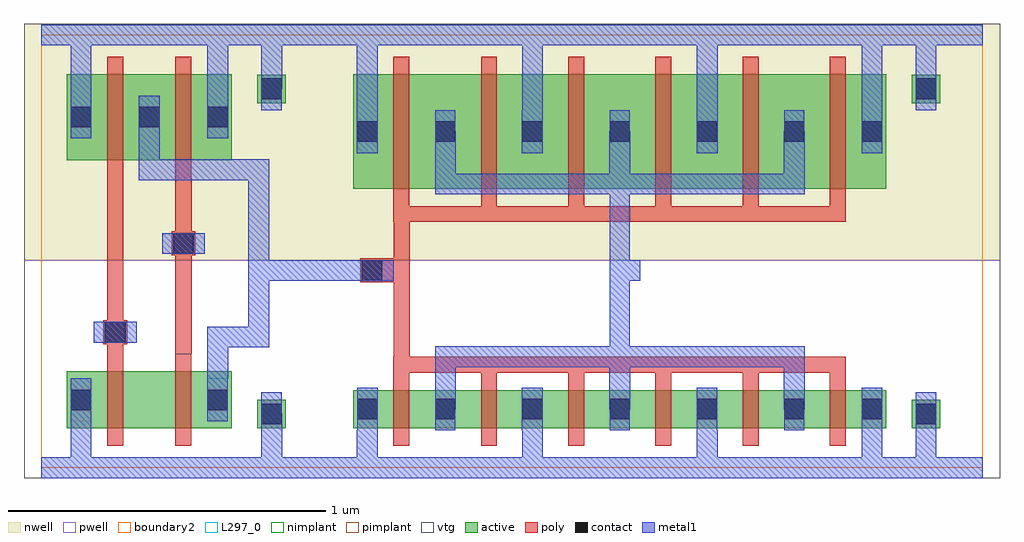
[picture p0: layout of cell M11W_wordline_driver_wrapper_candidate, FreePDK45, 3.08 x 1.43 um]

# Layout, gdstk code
import gdstk
lib = gdstk.Library(unit=1e-6, precision=1e-09)
def R(c, l, rs):  # rectangles x0, y0, x1, y1
    for r in rs: c.add(gdstk.rectangle(r[:2], r[2:], *l))
active = (1, 0)
pwell = (2, 0)
nwell = (3, 0)
nimplant = (4, 0)
pimplant = (5, 0)
vtg = (6, 0)
poly = (9, 0)
contact = (10, 0)
metal1 = (11, 0)
boundary2 = (239, 0)
L297_0 = (297, 0)

sram_1rw_32x16_freepdk45 = lib.new_cell('sram_1rw_32x16_freepdk45_contact_11')
R(sram_1rw_32x16_freepdk45, active, [(0,0.022,0.09,0.112)])
R(sram_1rw_32x16_freepdk45, nwell, [(-0.055,-0.033,0.145,0.168)])
R(sram_1rw_32x16_freepdk45, pimplant, [(0,0.022,0.09,0.112)])
R(sram_1rw_32x16_freepdk45, contact, [(0.013,0.035,0.077,0.1)])
R(sram_1rw_32x16_freepdk45, metal1, [(0.013,0,0.077,0.135)])
R(sram_1rw_32x16_freepdk45, boundary2, [(-0.055,-0.033,0.145,0.168)])

c_sram_1rw_32x16_freepdk45 = lib.new_cell('sram_1rw_32x16_freepdk45_pmos_m1_w0_270_sm1_dm1')
R(c_sram_1rw_32x16_freepdk45, active, [(0,0,0.305,0.27)])
R(c_sram_1rw_32x16_freepdk45, nwell, [(-0.08,-0.08,0.385,0.35)])
R(c_sram_1rw_32x16_freepdk45, pimplant, [(0,0,0.305,0.27)])
R(c_sram_1rw_32x16_freepdk45, vtg, [(-0.08,-0.08,0.385,0.35)])
R(c_sram_1rw_32x16_freepdk45, poly, [(0.127,-0.055,0.177,0.325), (0.127,-0.055,0.177,0.325)])
R(c_sram_1rw_32x16_freepdk45, metal1, [(0.013,0.068,0.077,0.203), (0.227,0.068,0.292,0.203)])
R(c_sram_1rw_32x16_freepdk45, boundary2, [(-0.08,-0.08,0.385,0.35)])
c_sram_1rw_32x16_freepdk45.add(gdstk.Reference(sram_1rw_32x16_freepdk45, (0,0.068)))
c_sram_1rw_32x16_freepdk45.add(gdstk.Reference(sram_1rw_32x16_freepdk45, (0.215,0.068)))
c_sram_1rw_32x16_freepdk45.add(gdstk.Label('G', (0.152,0.135), layer=9, texttype=0))
c_sram_1rw_32x16_freepdk45.add(gdstk.Label('S', (0.045,0.135), layer=11, texttype=0))
c_sram_1rw_32x16_freepdk45.add(gdstk.Label('D', (0.26,0.135), layer=11, texttype=0))

c_sram_1rw_32x16_freepdk45_ = lib.new_cell('sram_1rw_32x16_freepdk45_contact_10')
R(c_sram_1rw_32x16_freepdk45_, active, [(0,0.022,0.09,0.112)])
R(c_sram_1rw_32x16_freepdk45_, pwell, [(-0.055,-0.033,0.145,0.168)])
R(c_sram_1rw_32x16_freepdk45_, nimplant, [(0,0.022,0.09,0.112)])
R(c_sram_1rw_32x16_freepdk45_, contact, [(0.013,0.035,0.077,0.1)])
R(c_sram_1rw_32x16_freepdk45_, metal1, [(0.013,0,0.077,0.135)])
R(c_sram_1rw_32x16_freepdk45_, boundary2, [(-0.055,-0.033,0.145,0.168)])

c_sram_1rw_32x16_freepdk45__ = lib.new_cell('sram_1rw_32x16_freepdk45_nmos_m1_w0_180_sm1_dactive')
R(c_sram_1rw_32x16_freepdk45__, active, [(0,0,0.305,0.18), (0.215,0.045,0.305,0.135)])
R(c_sram_1rw_32x16_freepdk45__, pwell, [(-0.08,-0.08,0.385,0.26)])
R(c_sram_1rw_32x16_freepdk45__, nimplant, [(0,0,0.305,0.18)])
R(c_sram_1rw_32x16_freepdk45__, vtg, [(-0.08,-0.08,0.385,0.26)])
R(c_sram_1rw_32x16_freepdk45__, poly, [(0.127,-0.055,0.177,0.235), (0.127,-0.055,0.177,0.235)])
R(c_sram_1rw_32x16_freepdk45__, metal1, [(0.013,0.022,0.077,0.157)])
R(c_sram_1rw_32x16_freepdk45__, boundary2, [(-0.08,-0.08,0.385,0.26)])
c_sram_1rw_32x16_freepdk45__.add(gdstk.Reference(c_sram_1rw_32x16_freepdk45_, (0,0.022)))
c_sram_1rw_32x16_freepdk45__.add(gdstk.Label('G', (0.152,0.09), layer=9, texttype=0))
c_sram_1rw_32x16_freepdk45__.add(gdstk.Label('S', (0.045,0.09), layer=11, texttype=0))
c_sram_1rw_32x16_freepdk45__.add(gdstk.Label('D', (0.26,0.09), layer=1, texttype=0))

c_sram_1rw_32x16_freepdk45___ = lib.new_cell('sram_1rw_32x16_freepdk45_nmos_m1_w0_180_sactive_dm1')
R(c_sram_1rw_32x16_freepdk45___, active, [(0,0,0.305,0.18), (0,0.045,0.09,0.135)])
R(c_sram_1rw_32x16_freepdk45___, pwell, [(-0.08,-0.08,0.385,0.26)])
R(c_sram_1rw_32x16_freepdk45___, nimplant, [(0,0,0.305,0.18)])
R(c_sram_1rw_32x16_freepdk45___, vtg, [(-0.08,-0.08,0.385,0.26)])
R(c_sram_1rw_32x16_freepdk45___, poly, [(0.127,-0.055,0.177,0.235), (0.127,-0.055,0.177,0.235)])
R(c_sram_1rw_32x16_freepdk45___, metal1, [(0.227,0.022,0.292,0.157)])
R(c_sram_1rw_32x16_freepdk45___, boundary2, [(-0.08,-0.08,0.385,0.26)])
c_sram_1rw_32x16_freepdk45___.add(gdstk.Reference(c_sram_1rw_32x16_freepdk45_, (0.215,0.022)))
c_sram_1rw_32x16_freepdk45___.add(gdstk.Label('G', (0.152,0.09), layer=9, texttype=0))
c_sram_1rw_32x16_freepdk45___.add(gdstk.Label('S', (0.045,0.09), layer=1, texttype=0))
c_sram_1rw_32x16_freepdk45___.add(gdstk.Label('D', (0.26,0.09), layer=11, texttype=0))

c_sram_1rw_32x16_freepdk45____ = lib.new_cell('sram_1rw_32x16_freepdk45_contact_12')
R(c_sram_1rw_32x16_freepdk45____, active, [(0,0.022,0.09,0.112)])
R(c_sram_1rw_32x16_freepdk45____, nwell, [(-0.055,-0.033,0.145,0.168)])
R(c_sram_1rw_32x16_freepdk45____, nimplant, [(0,0.022,0.09,0.112)])
R(c_sram_1rw_32x16_freepdk45____, contact, [(0.013,0.035,0.077,0.1)])
R(c_sram_1rw_32x16_freepdk45____, metal1, [(0.013,0,0.077,0.135)])
R(c_sram_1rw_32x16_freepdk45____, boundary2, [(-0.055,-0.033,0.145,0.168)])

c_sram_1rw_32x16_freepdk45_____ = lib.new_cell('sram_1rw_32x16_freepdk45_contact_13')
R(c_sram_1rw_32x16_freepdk45_____, active, [(0,0.022,0.09,0.112)])
R(c_sram_1rw_32x16_freepdk45_____, pwell, [(-0.055,-0.033,0.145,0.168)])
R(c_sram_1rw_32x16_freepdk45_____, pimplant, [(0,0.022,0.09,0.112)])
R(c_sram_1rw_32x16_freepdk45_____, contact, [(0.013,0.035,0.077,0.1)])
R(c_sram_1rw_32x16_freepdk45_____, metal1, [(0.013,0,0.077,0.135)])
R(c_sram_1rw_32x16_freepdk45_____, boundary2, [(-0.055,-0.033,0.145,0.168)])

c_sram_1rw_32x16_freepdk45______ = lib.new_cell('sram_1rw_32x16_freepdk45_contact_14')
R(c_sram_1rw_32x16_freepdk45______, poly, [(0.03,0,0.105,0.075)])
R(c_sram_1rw_32x16_freepdk45______, contact, [(0.035,0.005,0.1,0.07)])
R(c_sram_1rw_32x16_freepdk45______, metal1, [(0,0.005,0.135,0.07)])
R(c_sram_1rw_32x16_freepdk45______, boundary2, [(0,0,0.135,0.075)])

c_sram_1rw_32x16_freepdk45_______ = lib.new_cell('sram_1rw_32x16_freepdk45_pnand2')
R(c_sram_1rw_32x16_freepdk45_______, pwell, [(-0.055,-0.033,0.957,0.655)])
R(c_sram_1rw_32x16_freepdk45_______, nwell, [(-0.055,0.655,0.957,1.4)])
R(c_sram_1rw_32x16_freepdk45_______, vtg, [(-0.055,-0.033,0.957,0.655), (-0.055,0.655,0.957,1.4)])
R(c_sram_1rw_32x16_freepdk45_______, poly, [(0.208,0.36,0.258,0.915), (0.422,0.36,0.473,0.915), (0.208,0.39,0.232,0.465), (0.422,0.67,0.447,0.745)])
R(c_sram_1rw_32x16_freepdk45_______, metal1, [(0,-0.033,0.902,0.033), (0.092,-0.033,0.157,0.147), (0.692,0,0.758,0.17), (0.522,0.283,0.588,0.413), (0.522,0.38,0.588,0.445), (0.555,0.38,0.685,0.445), (0.652,0.38,0.718,0.445), (0.165,0.395,0.3,0.46), (0.652,0.413,0.718,0.94), (0.38,0.675,0.515,0.74), (0.307,0.907,0.372,0.972), (0.34,0.907,0.685,0.972), (0.652,0.907,0.718,0.972), (0.307,0.94,0.372,1.038), (0.092,1.038,0.157,1.397), (0.522,1.038,0.588,1.397), (0.692,1.195,0.758,1.365), (0,1.332,0.902,1.397)])
R(c_sram_1rw_32x16_freepdk45_______, boundary2, [(0,0,0.902,1.365), (0,0,0.902,1.365)])
c_sram_1rw_32x16_freepdk45_______.add(gdstk.Reference(c_sram_1rw_32x16_freepdk45, (0.08,0.97)))
c_sram_1rw_32x16_freepdk45_______.add(gdstk.Reference(c_sram_1rw_32x16_freepdk45, (0.295,0.97)))
c_sram_1rw_32x16_freepdk45_______.add(gdstk.Reference(c_sram_1rw_32x16_freepdk45__, (0.08,0.125)))
c_sram_1rw_32x16_freepdk45_______.add(gdstk.Reference(c_sram_1rw_32x16_freepdk45___, (0.295,0.125)))
c_sram_1rw_32x16_freepdk45_______.add(gdstk.Reference(c_sram_1rw_32x16_freepdk45____, (0.68,1.127)))
c_sram_1rw_32x16_freepdk45_______.add(gdstk.Reference(c_sram_1rw_32x16_freepdk45_____, (0.68,0.103)))
c_sram_1rw_32x16_freepdk45_______.add(gdstk.Reference(c_sram_1rw_32x16_freepdk45______, (0.165,0.39)))
c_sram_1rw_32x16_freepdk45_______.add(gdstk.Reference(c_sram_1rw_32x16_freepdk45______, (0.38,0.67)))
c_sram_1rw_32x16_freepdk45_______.add(gdstk.Label('Z', (0.685,0.94), layer=11, texttype=0))
c_sram_1rw_32x16_freepdk45_______.add(gdstk.Label('gnd', (0.45,0), layer=11, texttype=0))
c_sram_1rw_32x16_freepdk45_______.add(gdstk.Label('vdd', (0.45,1.365), layer=11, texttype=0))
c_sram_1rw_32x16_freepdk45_______.add(gdstk.Label('A', (0.232,0.427), layer=11, texttype=0))
c_sram_1rw_32x16_freepdk45_______.add(gdstk.Label('B', (0.447,0.707), layer=11, texttype=0))

c_sram_1rw_32x16_freepdk45________ = lib.new_cell('sram_1rw_32x16_freepdk45_pmos_m6_w0_360_sm1_dm1_da_p')
R(c_sram_1rw_32x16_freepdk45________, active, [(0,0,1.68,0.36)])
R(c_sram_1rw_32x16_freepdk45________, nwell, [(-0.08,-0.08,1.76,0.44)])
R(c_sram_1rw_32x16_freepdk45________, pimplant, [(0,0,1.68,0.36)])
R(c_sram_1rw_32x16_freepdk45________, vtg, [(-0.08,-0.08,1.76,0.44)])
R(c_sram_1rw_32x16_freepdk45________, poly, [(0.127,-0.105,1.552,-0.055), (0.127,-0.055,0.177,0.415), (0.403,-0.055,0.452,0.415), (0.677,-0.055,0.728,0.415), (0.952,-0.055,1.002,0.415), (1.228,-0.055,1.278,0.415), (1.502,-0.055,1.552,0.415)])
R(c_sram_1rw_32x16_freepdk45________, metal1, [(0.258,-0.018,1.423,0.047), (0.258,0.015,0.323,0.18), (0.807,0.015,0.873,0.18), (1.357,0.015,1.423,0.18), (0.013,0.112,0.077,0.247), (0.532,0.112,0.598,0.247), (1.083,0.112,1.147,0.247), (1.602,0.112,1.667,0.247)])
R(c_sram_1rw_32x16_freepdk45________, boundary2, [(-0.08,-0.105,1.76,0.44)])
c_sram_1rw_32x16_freepdk45________.add(gdstk.Reference(sram_1rw_32x16_freepdk45, (0,0.112)))
c_sram_1rw_32x16_freepdk45________.add(gdstk.Reference(sram_1rw_32x16_freepdk45, (0.245,0.112)))
c_sram_1rw_32x16_freepdk45________.add(gdstk.Reference(sram_1rw_32x16_freepdk45, (0.52,0.112)))
c_sram_1rw_32x16_freepdk45________.add(gdstk.Reference(sram_1rw_32x16_freepdk45, (0.795,0.112)))
c_sram_1rw_32x16_freepdk45________.add(gdstk.Reference(sram_1rw_32x16_freepdk45, (1.07,0.112)))
c_sram_1rw_32x16_freepdk45________.add(gdstk.Reference(sram_1rw_32x16_freepdk45, (1.345,0.112)))
c_sram_1rw_32x16_freepdk45________.add(gdstk.Reference(sram_1rw_32x16_freepdk45, (1.59,0.112)))
c_sram_1rw_32x16_freepdk45________.add(gdstk.Label('G', (0.84,-0.08), layer=9, texttype=0))
c_sram_1rw_32x16_freepdk45________.add(gdstk.Label('S', (1.635,0.18), layer=11, texttype=0))
c_sram_1rw_32x16_freepdk45________.add(gdstk.Label('S', (1.115,0.18), layer=11, texttype=0))
c_sram_1rw_32x16_freepdk45________.add(gdstk.Label('S', (0.045,0.18), layer=11, texttype=0))
c_sram_1rw_32x16_freepdk45________.add(gdstk.Label('S', (0.565,0.18), layer=11, texttype=0))
c_sram_1rw_32x16_freepdk45________.add(gdstk.Label('D', (0.84,0.015), layer=11, texttype=0))

c_sram_1rw_32x16_freepdk45_________ = lib.new_cell('sram_1rw_32x16_freepdk45_nmos_m6_w0_120_sm1_dm1_da_p')
R(c_sram_1rw_32x16_freepdk45_________, active, [(0,0,1.68,0.12)])
R(c_sram_1rw_32x16_freepdk45_________, pwell, [(-0.08,-0.08,1.76,0.2)])
R(c_sram_1rw_32x16_freepdk45_________, nimplant, [(0,0,1.68,0.12)])
R(c_sram_1rw_32x16_freepdk45_________, vtg, [(-0.08,-0.08,1.76,0.2)])
R(c_sram_1rw_32x16_freepdk45_________, poly, [(0.127,-0.055,0.177,0.175), (0.403,-0.055,0.452,0.175), (0.677,-0.055,0.728,0.175), (0.952,-0.055,1.002,0.175), (1.228,-0.055,1.278,0.175), (1.502,-0.055,1.552,0.175), (0.127,0.175,1.552,0.225)])
R(c_sram_1rw_32x16_freepdk45_________, metal1, [(0.013,-0.007,0.077,0.127), (0.532,-0.007,0.598,0.127), (1.083,-0.007,1.147,0.127), (1.602,-0.007,1.667,0.127), (0.258,0.06,0.323,0.225), (0.807,0.06,0.873,0.225), (1.357,0.06,1.423,0.225), (0.258,0.192,1.423,0.258)])
R(c_sram_1rw_32x16_freepdk45_________, boundary2, [(-0.08,-0.08,1.76,0.258)])
c_sram_1rw_32x16_freepdk45_________.add(gdstk.Reference(c_sram_1rw_32x16_freepdk45_, (0,-0.007)))
c_sram_1rw_32x16_freepdk45_________.add(gdstk.Reference(c_sram_1rw_32x16_freepdk45_, (0.245,-0.007)))
c_sram_1rw_32x16_freepdk45_________.add(gdstk.Reference(c_sram_1rw_32x16_freepdk45_, (0.52,-0.007)))
c_sram_1rw_32x16_freepdk45_________.add(gdstk.Reference(c_sram_1rw_32x16_freepdk45_, (0.795,-0.007)))
c_sram_1rw_32x16_freepdk45_________.add(gdstk.Reference(c_sram_1rw_32x16_freepdk45_, (1.07,-0.007)))
c_sram_1rw_32x16_freepdk45_________.add(gdstk.Reference(c_sram_1rw_32x16_freepdk45_, (1.345,-0.007)))
c_sram_1rw_32x16_freepdk45_________.add(gdstk.Reference(c_sram_1rw_32x16_freepdk45_, (1.59,-0.007)))
c_sram_1rw_32x16_freepdk45_________.add(gdstk.Label('G', (0.84,0.2), layer=9, texttype=0))
c_sram_1rw_32x16_freepdk45_________.add(gdstk.Label('S', (1.115,0.06), layer=11, texttype=0))
c_sram_1rw_32x16_freepdk45_________.add(gdstk.Label('S', (0.565,0.06), layer=11, texttype=0))
c_sram_1rw_32x16_freepdk45_________.add(gdstk.Label('S', (0.045,0.06), layer=11, texttype=0))
c_sram_1rw_32x16_freepdk45_________.add(gdstk.Label('S', (1.635,0.06), layer=11, texttype=0))
c_sram_1rw_32x16_freepdk45_________.add(gdstk.Label('D', (0.84,0.225), layer=11, texttype=0))

c_sram_1rw_32x16_freepdk45__________ = lib.new_cell('sram_1rw_32x16_freepdk45_pinv_0')
R(c_sram_1rw_32x16_freepdk45__________, pwell, [(-0.055,-0.033,2.118,0.655)])
R(c_sram_1rw_32x16_freepdk45__________, nwell, [(-0.055,0.655,2.118,1.4)])
R(c_sram_1rw_32x16_freepdk45__________, vtg, [(-0.055,-0.033,2.118,0.655), (-0.055,0.655,2.118,1.4)])
R(c_sram_1rw_32x16_freepdk45__________, poly, [(0.208,0.35,0.258,0.775), (0.14,0.585,0.208,0.66)])
R(c_sram_1rw_32x16_freepdk45__________, metal1, [(0,-0.033,2.062,0.033), (0.092,-0.033,0.157,0.118), (0.613,-0.033,0.677,0.118), (1.163,-0.033,1.228,0.118), (1.683,-0.033,1.747,0.118), (1.852,0,1.917,0.17), (0.888,0.317,0.952,0.927), (0.072,0.59,0.208,0.655), (0.92,0.59,0.985,0.655), (0.092,0.992,0.157,1.397), (0.613,0.992,0.677,1.397), (1.163,0.992,1.228,1.397), (1.683,0.992,1.747,1.397), (1.852,1.195,1.917,1.365), (0,1.332,2.062,1.397)])
R(c_sram_1rw_32x16_freepdk45__________, boundary2, [(0,0,2.062,1.365), (0,0,2.062,1.365)])
c_sram_1rw_32x16_freepdk45__________.add(gdstk.Reference(c_sram_1rw_32x16_freepdk45________, (0.08,0.88)))
c_sram_1rw_32x16_freepdk45__________.add(gdstk.Reference(c_sram_1rw_32x16_freepdk45_________, (0.08,0.125)))
c_sram_1rw_32x16_freepdk45__________.add(gdstk.Reference(c_sram_1rw_32x16_freepdk45____, (1.84,1.127)))
c_sram_1rw_32x16_freepdk45__________.add(gdstk.Reference(c_sram_1rw_32x16_freepdk45_____, (1.84,0.103)))
c_sram_1rw_32x16_freepdk45__________.add(gdstk.Reference(c_sram_1rw_32x16_freepdk45______, (0.072,0.585)))
c_sram_1rw_32x16_freepdk45__________.add(gdstk.Label('A', (0.14,0.623), layer=11, texttype=0))
c_sram_1rw_32x16_freepdk45__________.add(gdstk.Label('Z', (0.952,0.623), layer=11, texttype=0))
c_sram_1rw_32x16_freepdk45__________.add(gdstk.Label('gnd', (1.03,0), layer=11, texttype=0))
c_sram_1rw_32x16_freepdk45__________.add(gdstk.Label('vdd', (1.03,1.365), layer=11, texttype=0))

gen_wl_driver = lib.new_cell('gen_wl_driver')
R(gen_wl_driver, metal1, [(0,-0.033,2.965,0.033), (0.165,0.395,0.3,0.46), (0.652,0.59,0.718,0.655), (0.685,0.59,1.042,0.655), (1.822,0.59,1.887,0.655), (0.652,0.623,0.718,0.94), (0.38,0.675,0.515,0.74), (0,1.332,2.965,1.397)])
R(gen_wl_driver, boundary2, [(0,0,2.965,1.365)])
gen_wl_driver.add(gdstk.Reference(c_sram_1rw_32x16_freepdk45_______, (0,0)))
gen_wl_driver.add(gdstk.Reference(c_sram_1rw_32x16_freepdk45__________, (0.902,0)))
gen_wl_driver.add(gdstk.Label('Z', (1.855,0.623), layer=11, texttype=0))
gen_wl_driver.add(gdstk.Label('A', (0.232,0.427), layer=11, texttype=0))
gen_wl_driver.add(gdstk.Label('B', (0.447,0.707), layer=11, texttype=0))
gen_wl_driver.add(gdstk.Label('gnd', (1.482,0), layer=11, texttype=0))
gen_wl_driver.add(gdstk.Label('vdd', (1.482,1.365), layer=11, texttype=0))

wordline_driver = lib.new_cell('wordline_driver')
wordline_driver.add(gdstk.Reference(gen_wl_driver, (0.08,0.105)))

m11w_wordline_driver_wra = lib.new_cell('M11W_wordline_driver_wrapper_marker')
R(m11w_wordline_driver_wra, poly, [(0.502,0.175,0.552,0.465)])
R(m11w_wordline_driver_wra, metal1, [(0.172,0.252,0.237,0.387), (0.603,0.252,0.667,0.387)])
m11w_wordline_driver_wra.add(gdstk.Label('D', (0.635,0.32), layer=11, texttype=0))
m11w_wordline_driver_wra.add(gdstk.Label('G', (0.527,0.32), layer=9, texttype=0))
m11w_wordline_driver_wra.add(gdstk.Label('S', (0.205,0.32), layer=11, texttype=0))

c_m11w_wordline_driver_wra = lib.new_cell('M11W_wordline_driver_wrapper_debug')
R(c_m11w_wordline_driver_wra, L297_0, [(0.502,0.175,0.552,0.465), (0.172,0.252,0.237,0.387), (0.603,0.252,0.667,0.387)])
c_m11w_wordline_driver_wra.add(gdstk.Label('M11W wrapper repair: D/G/S exposed from resolved gen_wl_driver geometry', (0,2), layer=296, texttype=0))
c_m11w_wordline_driver_wra.add(gdstk.Label('M11W_D', (0.603,0.437), layer=296, texttype=0))
c_m11w_wordline_driver_wra.add(gdstk.Label('M11W_G', (0.502,0.515), layer=296, texttype=0))
c_m11w_wordline_driver_wra.add(gdstk.Label('M11W_S', (0.172,0.437), layer=296, texttype=0))

c_m11w_wordline_driver_wra_ = lib.new_cell('M11W_wordline_driver_wrapper_candidate')
c_m11w_wordline_driver_wra_.add(gdstk.Reference(wordline_driver, (0,0)))
c_m11w_wordline_driver_wra_.add(gdstk.Reference(m11w_wordline_driver_wra, (0,0)))
c_m11w_wordline_driver_wra_.add(gdstk.Reference(c_m11w_wordline_driver_wra, (0,0)))

lib.write_gds('M11W_wordline_driver_wrapper_candidate.gds')
